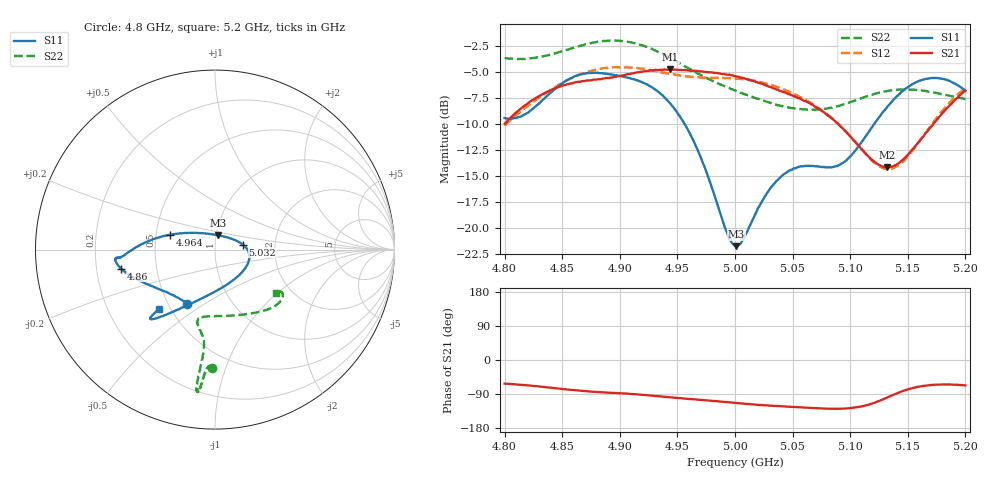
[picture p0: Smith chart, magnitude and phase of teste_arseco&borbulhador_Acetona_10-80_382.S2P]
! Network Analyzer HP8722D
! Hewlett-Packard
! Data name: Linha & Wilkinson
! Saver's name: Rodrigo Anjos
! Comments: Teste da utilização de aquisição
! continua pelo VNA HP8722D
! Time and date: 17/4/2025 17:32
!  Frequency  S11  S21  S12  S22
# HZ  S  MA R 50
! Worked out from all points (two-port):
!   401 points, 4.8 GHz to 5.2 GHz, reference 50 ohm
!   highest |S21| = -4.74 dB at 4.944 GHz (marker M1); lowest = -14.2 dB at 5.132 GHz (marker M2)
!   |S21| within 3 dB of the highest: 4.824 GHz to 5.06 GHz (236.1 MHz wide, 4.78 % of centre); 5.190447 GHz to end of sweep
!   lowest |S11| = -21.8 dB at 5.001 GHz (marker M3), VSWR 1.18, Z = 50.8 + j8.21 ohm
!   |S11| at or under -10 dB: 4.956 GHz to 5.121 GHz (164.6 MHz wide, 3.27 % of centre)
!   |S22| runs from -8.7 to -1.9 dB; largest |S21 - S12| = 0.87
!   S11 on the Smith chart (normalised r, x): 4.8 GHz: 0.62, -0.42; 4.86 GHz: 0.31, -0.09; 4.964 GHz: 0.59, +0.11; 5.032 GHz: 1.37, +0.08; 5.2 GHz: 0.43, -0.36
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4.8e9  0.3381 -117.1  0.3168 -62.3  0.3114 -176.6  0.6576 -91.5
4.819e9  0.356 -137.4  0.3927 -66.7  0.3828 -176.3  0.6539 -93.2
4.86e9  0.5349 -168.6  0.4998 -79.4  0.5305 -179.6  0.7379 -95.4
4.867e9  0.5496 -171.4  0.5092 -81.5  0.5526 179.1  0.7572 -95.8
4.899e9  0.5402 -175.3  0.5384 -87.7  0.5947 172.9  0.7968 -97.2
4.934e9  0.4497 179.1  0.5761 -95.7  0.5679 169.9  0.7004 -97.4
4.944e9  0.3962 174.6  0.5794 -98.5  0.5518 170.0  0.6575 -97.1
4.964e9  0.2625 161.5  0.5719 -103.8  0.5331 171.9  0.5687 -96.5
4.993e9  0.09488 111.5  0.548 -111.1  0.5274 174.0  0.4761 -98.9
5e9  0.08228 84.0  0.5387 -113.1  0.5241 174.2  0.4592 -100.2
5.001e9  0.08157 79.6  0.5365 -113.3  0.5234 174.3  0.4567 -100.4
5.006e9  0.08614 59.9  0.5291 -114.7  0.5211 174.1  0.4462 -101.6
5.032e9  0.1582 10.2  0.4737 -120.7  0.4874 172.9  0.3972 -103.4
5.049e9  0.1903 -5.9  0.4354 -123.6  0.4479 172.2  0.3775 -98.5
5.067e9  0.1987 -25.3  0.3922 -126.6  0.3965 172.0  0.3708 -88.2
5.095e9  0.208 -73.6  0.295 -128.2  0.296 174.6  0.3942 -66.5
5.119e9  0.3065 -110.1  0.2128 -115.0  0.2104 -170.1  0.438 -50.6
5.132e9  0.3818 -120.6  0.1955 -99.2  0.1921 -152.5  0.4554 -44.2
5.134e9  0.3934 -121.8  0.1955 -96.5  0.1919 -149.5  0.4585 -43.4
5.148e9  0.4683 -128.0  0.2189 -79.6  0.2145 -129.6  0.4649 -38.2
5.168e9  0.5247 -132.3  0.2966 -66.8  0.3008 -113.2  0.4524 -33.5
5.2e9  0.4574 -133.4  0.459 -67.1  0.4708 -109.2  0.4171 -35.0
